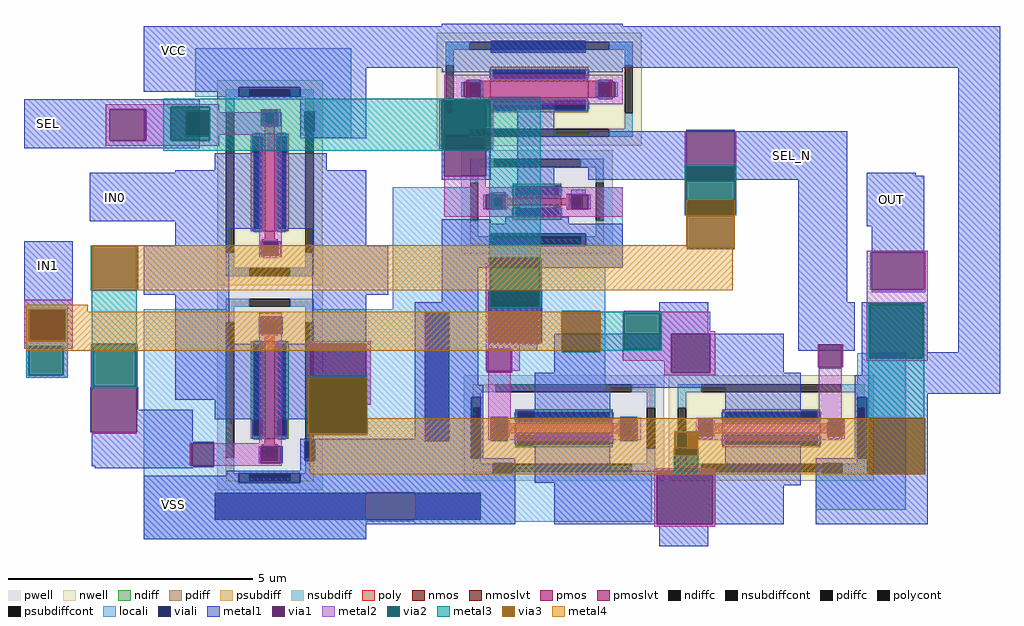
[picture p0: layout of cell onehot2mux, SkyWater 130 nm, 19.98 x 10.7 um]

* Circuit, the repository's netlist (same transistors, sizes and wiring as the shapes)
** sch_path: /home/ttuser/wowa/xschem/onehot2mux.sch
.subckt onehot2mux SEL IN0 IN1 OUT VCC VSS
*.PININFO SEL:I IN0:I IN1:I OUT:O VCC:I VSS:I
x2 OUT IN1 SEL_N SEL VSS VCC passgate
x3 OUT IN0 SEL SEL_N VSS VCC passgate
x1 SEL SEL_N VCC VSS lvtnot
.ends

* expanding   symbol:  /home/ttuser/wowa/xschem/passgate.sym # of pins=6
** sym_path: /home/ttuser/wowa/xschem/passgate.sym
** sch_path: /home/ttuser/wowa/xschem/passgate.sch
.subckt passgate Z A GP GN VSSBPIN VCCBPIN
*.PININFO A:B Z:B GP:I GN:I VCCBPIN:I VSSBPIN:I
XM1 Z GN A VSSBPIN sky130_fd_pr__nfet_01v8 L=0.2 W=2 nf=1 m=1
XM2 Z GP A VCCBPIN sky130_fd_pr__pfet_01v8 L=0.2 W=2 nf=1 m=1
.ends


* expanding   symbol:  /home/ttuser/wowa/xschem/lvtnot.sym # of pins=4
** sym_path: /home/ttuser/wowa/xschem/lvtnot.sym
** sch_path: /home/ttuser/wowa/xschem/lvtnot.sch
.subckt lvtnot a y VCCPIN VSSPIN
*.PININFO y:O a:I VCCPIN:I VSSPIN:I
XM2 y a VCCPIN VCCPIN sky130_fd_pr__pfet_01v8_lvt L=0.35 W=2 nf=1 m=1
XM1 y a VSSPIN VSSPIN sky130_fd_pr__nfet_01v8_lvt L=0.15 W=1 nf=1 m=1
.ends

.end

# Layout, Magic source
magic
tech sky130A
magscale 1 2
<< locali >>
rect 960 3040 1300 3250
rect 960 2750 1830 3040
rect -60 2060 290 2750
rect 620 2740 1830 2750
rect 620 2210 1090 2740
rect 1190 2420 1830 2740
rect 1190 2210 1300 2420
rect 620 2110 1300 2210
rect 620 2060 2020 2110
rect -60 2000 2020 2060
rect -60 1890 230 2000
rect 1320 1890 2020 2000
rect -60 1880 2020 1890
<< viali >>
rect 1090 2210 1190 2740
rect 230 1890 1320 2000
<< metal1 >>
rect -40 3710 160 3910
rect 620 3740 3445 3910
rect -550 3570 170 3610
rect -550 3440 -200 3570
rect -50 3440 170 3570
rect 2160 3480 2360 3486
rect -550 3410 170 3440
rect -280 3110 240 3310
rect 1760 3280 2160 3480
rect 2360 3280 2820 3480
rect 2160 3274 2360 3280
rect -550 2750 -350 3030
rect -550 2620 -530 2750
rect -380 2620 -350 2750
rect 1160 2740 1310 3000
rect -550 2590 -350 2620
rect 610 2610 870 2620
rect -278 2248 -272 2432
rect -88 2340 -82 2432
rect 610 2380 620 2610
rect 850 2380 870 2610
rect 610 2360 870 2380
rect -88 2248 140 2340
rect -272 2108 140 2248
rect -260 2100 140 2108
rect 790 2210 1090 2220
rect 1348 2614 1354 2826
rect 1566 2614 1572 2826
rect 2260 2496 2444 2644
rect 2620 2580 2820 3280
rect 2900 3297 3100 3310
rect 2900 3090 3135 3297
rect 2920 2985 3135 3090
rect 2914 2830 2920 2985
rect 3135 2830 3141 2985
rect 2920 2820 3140 2830
rect 3275 2575 3445 3740
rect 2935 2405 3445 2575
rect 1190 2210 1270 2220
rect -40 1850 160 2050
rect 790 2000 1270 2210
rect 2030 2090 2280 2100
rect 790 1870 1270 1890
rect 2030 1870 2040 2090
rect 2270 1870 2280 2090
rect 2935 2015 3105 2405
rect 2030 1860 2280 1870
<< via1 >>
rect -200 3440 -50 3570
rect 2160 3280 2360 3480
rect -530 2620 -380 2750
rect -272 2248 -88 2432
rect 620 2380 850 2610
rect 1354 2614 1566 2826
rect 2100 2490 2260 2650
rect 2920 2830 3135 2985
rect 2040 1870 2270 2090
<< metal2 >>
rect -215 3580 250 3590
rect -215 3570 50 3580
rect -215 3440 -200 3570
rect -50 3440 50 3570
rect 210 3440 250 3580
rect -215 3420 250 3440
rect 1150 3405 1159 3607
rect 1361 3405 1370 3607
rect 2154 3280 2160 3480
rect 2360 3280 2366 3480
rect 2160 3131 2360 3140
rect 2920 2990 3135 2991
rect 2900 2985 3150 2990
rect 1354 2961 1566 2966
rect 1350 2940 1359 2961
rect 1340 2826 1359 2940
rect 1561 2826 1570 2961
rect -550 2750 -350 2790
rect -550 2620 -530 2750
rect -380 2620 -350 2750
rect -550 2600 -350 2620
rect -272 2607 -88 2612
rect 610 2610 870 2620
rect -550 2590 -530 2600
rect -540 2480 -530 2590
rect -390 2590 -350 2600
rect -390 2480 -370 2590
rect -540 2470 -370 2480
rect -276 2433 -267 2607
rect -93 2433 -84 2607
rect -272 2432 -88 2433
rect 610 2360 620 2610
rect -272 2242 -88 2248
rect 850 2360 870 2610
rect 1340 2614 1354 2826
rect 1566 2759 1570 2826
rect 2900 2830 2920 2985
rect 3135 2830 3150 2985
rect 2900 2770 3150 2830
rect 1905 2740 2055 2744
rect 1340 2608 1566 2614
rect 1900 2735 2260 2740
rect 1340 2500 1480 2608
rect 1900 2585 1905 2735
rect 2055 2660 2260 2735
rect 2055 2650 2280 2660
rect 2055 2585 2100 2650
rect 1900 2540 2100 2585
rect 2070 2490 2100 2540
rect 2260 2490 2280 2650
rect 2900 2550 2910 2770
rect 3130 2550 3150 2770
rect 2900 2540 3150 2550
rect 2070 2480 2280 2490
rect 620 2236 850 2245
rect 2114 2176 2207 2185
rect 2030 2090 2114 2100
rect 2207 2090 2280 2100
rect 2030 1870 2040 2090
rect 2270 1870 2280 2090
rect 2030 1860 2280 1870
<< via2 >>
rect 50 3440 210 3580
rect 1159 3405 1361 3607
rect 2160 3280 2360 3337
rect 2160 3140 2360 3280
rect 1359 2826 1561 2961
rect -530 2480 -390 2600
rect -267 2433 -93 2607
rect 620 2380 850 2475
rect 620 2245 850 2380
rect 1359 2759 1561 2826
rect 1905 2585 2055 2735
rect 2910 2550 3130 2770
rect 2114 2090 2207 2176
rect 2114 2083 2207 2090
<< metal3 >>
rect 20 3607 1566 3612
rect 20 3580 1159 3607
rect 20 3440 50 3580
rect 210 3440 1159 3580
rect 20 3405 1159 3440
rect 1361 3405 1566 3607
rect 20 3400 1566 3405
rect -272 3011 -88 3012
rect -277 2829 -271 3011
rect -89 2829 -83 3011
rect 1354 2961 1566 3400
rect 2155 3337 2365 3342
rect 2155 3140 2160 3337
rect 2360 3140 2365 3337
rect 2155 3135 2162 3140
rect 2359 3135 2365 3140
rect 2162 2996 2359 3002
rect -540 2750 -370 2770
rect -540 2620 -530 2750
rect -380 2620 -370 2750
rect -540 2600 -370 2620
rect -540 2480 -530 2600
rect -390 2480 -370 2600
rect -540 2470 -370 2480
rect -272 2607 -88 2829
rect 1354 2759 1359 2961
rect 1561 2759 1566 2961
rect 1354 2754 1566 2759
rect 2905 2770 3135 2775
rect 1651 2740 1809 2745
rect -272 2433 -267 2607
rect -93 2433 -88 2607
rect 1650 2739 2060 2740
rect 1650 2581 1651 2739
rect 1809 2735 2060 2739
rect 1809 2585 1905 2735
rect 2055 2585 2060 2735
rect 1809 2581 2060 2585
rect 1650 2580 2060 2581
rect 1651 2575 1809 2580
rect 2905 2550 2910 2770
rect 3130 2550 3135 2770
rect -272 2428 -88 2433
rect 615 2475 855 2480
rect 615 2470 620 2475
rect 850 2470 855 2475
rect 2905 2304 3135 2550
rect 615 2234 855 2240
rect 2114 2246 2207 2252
rect 2109 2083 2114 2181
rect 2207 2083 2212 2181
rect 2109 2078 2212 2083
rect 2900 2076 2906 2304
rect 3134 2076 3140 2304
rect 2905 2075 3135 2076
<< via3 >>
rect -271 2829 -89 3011
rect 2162 3140 2359 3196
rect 2162 3002 2359 3140
rect -530 2620 -380 2750
rect 1651 2581 1809 2739
rect 615 2245 620 2470
rect 620 2245 850 2470
rect 850 2245 855 2470
rect 615 2240 855 2245
rect 2114 2176 2207 2246
rect 2114 2153 2207 2176
rect 2906 2076 3134 2304
<< metal4 >>
rect 2161 3196 2360 3197
rect 2161 3012 2162 3196
rect -272 3011 2162 3012
rect -272 2829 -271 3011
rect -89 3002 2162 3011
rect 2359 3002 2360 3196
rect -89 3001 2360 3002
rect -89 2829 2352 3001
rect -272 2828 2352 2829
rect -540 2750 -290 2770
rect -540 2620 -530 2750
rect -380 2740 -290 2750
rect -380 2739 1810 2740
rect -380 2620 1651 2739
rect -540 2581 1651 2620
rect 1809 2581 1810 2739
rect -540 2580 1810 2581
rect 614 2470 856 2471
rect 614 2240 615 2470
rect 855 2305 856 2470
rect 855 2304 3135 2305
rect 855 2246 2906 2304
rect 855 2240 2114 2246
rect 614 2239 2114 2240
rect 620 2153 2114 2239
rect 2207 2153 2906 2246
rect 620 2076 2906 2153
rect 3134 2076 3135 2304
rect 620 2075 3135 2076
use lvtnot  x1
transform 1 0 -260 0 1 2580
box 1400 340 2238 1340
use passgate  x2
transform 0 1 1750 -1 0 4980
box 2200 -700 3200 1400
use passgate  x3
transform 1 0 -2260 0 1 2510
box 2200 -700 3200 1400
<< labels >>
flabel metal1 2900 3100 3100 3300 0 FreeSans 1280 0 0 0 OUT
port 3 nsew
flabel metal1 -550 2830 -350 3030 0 FreeSans 1280 0 0 0 IN1
port 2 nsew
flabel metal1 -274 3110 -74 3310 0 FreeSans 1280 0 0 0 IN0
port 1 nsew
flabel metal1 -550 3410 -350 3610 0 FreeSans 1280 0 0 0 SEL
port 0 nsew
flabel metal1 -40 3710 160 3910 0 FreeSans 1280 0 0 0 VCC
port 4 nsew
flabel metal1 -40 1850 160 2050 0 FreeSans 1280 0 0 0 VSS
port 5 nsew
rlabel metal1 2360 3280 2820 3480 1 SEL_N
<< end >>

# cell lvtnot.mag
magic
tech sky130A
magscale 1 2
<< pwell >>
rect 1740 560 1880 600
rect 1710 550 1880 560
rect 1680 500 1880 550
rect 1680 480 1740 500
<< locali >>
rect 1420 460 1560 670
rect 1420 430 1620 460
rect 2070 460 2160 670
rect 2010 430 2160 460
rect 1420 340 2160 430
<< viali >>
rect 1620 1220 2010 1270
rect 1620 430 2010 480
<< metal1 >>
rect 1420 1270 2160 1340
rect 1420 1220 1620 1270
rect 2010 1220 2160 1270
rect 1420 1140 2160 1220
rect 1520 1100 1580 1110
rect 2060 1100 2120 1110
rect 1500 1040 1510 1100
rect 1580 1040 1590 1100
rect 2050 1040 2060 1100
rect 2130 1040 2140 1100
rect 1520 1030 1580 1040
rect 2060 1030 2120 1040
rect 1420 885 1620 900
rect 1420 715 1430 885
rect 1600 715 1620 885
rect 1420 700 1620 715
rect 1730 880 1880 1030
rect 2020 880 2220 900
rect 1730 750 2220 880
rect 1620 640 1680 650
rect 1590 580 1600 640
rect 1670 580 1680 640
rect 1730 630 1880 750
rect 2020 700 2220 750
rect 1950 640 2010 660
rect 1740 580 1880 600
rect 1940 580 1950 640
rect 2020 580 2030 640
rect 1720 560 1900 580
rect 1710 550 1900 560
rect 1420 520 1620 540
rect 1680 520 1940 550
rect 1420 480 2160 520
rect 1420 430 1620 480
rect 2010 430 2160 480
rect 1420 340 2160 430
<< via1 >>
rect 1510 1040 1580 1100
rect 2060 1040 2130 1100
rect 1430 715 1600 885
rect 1600 580 1670 640
rect 1950 580 2020 640
<< metal2 >>
rect 1430 1100 2160 1130
rect 1430 1040 1510 1100
rect 1580 1040 2060 1100
rect 2130 1040 2160 1100
rect 1430 1010 2160 1040
rect 1430 885 1600 1010
rect 1430 670 1600 715
rect 1430 640 2160 670
rect 1430 580 1600 640
rect 1670 580 1950 640
rect 2020 580 2160 640
rect 1430 550 2160 580
use sky130_fd_pr__nfet_01v8_lvt_648S5X  XM1
transform 0 -1 1810 1 0 611
box -211 -310 211 310
use sky130_fd_pr__pfet_01v8_lvt_4QFWD3  XM2
transform 0 1 1819 -1 0 1071
box -231 -419 231 419
<< labels >>
flabel metal1 1420 700 1620 900 0 FreeSans 1280 0 0 0 a
port 0 nsew
flabel metal1 2020 700 2220 900 0 FreeSans 1280 0 0 0 y
port 1 nsew
flabel metal1 1420 1140 1620 1340 0 FreeSans 1280 0 0 0 VCCPIN
port 2 nsew
flabel metal1 1420 340 1620 540 0 FreeSans 1280 0 0 0 VSSPIN
port 3 nsew
<< end >>

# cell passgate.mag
magic
tech sky130A
magscale 1 2
<< locali >>
rect 2410 1150 3050 1310
rect 2410 1110 2590 1150
rect 2840 1110 3050 1150
rect 2880 1050 3050 1110
rect 2900 970 3050 1050
rect 2880 940 3050 970
rect 2460 -440 2560 -230
rect 2870 -290 2970 -230
rect 2870 -300 3110 -290
rect 2900 -380 3110 -300
rect 2200 -470 2590 -440
rect 2870 -440 3110 -380
rect 2840 -470 3110 -440
rect 2200 -700 3110 -470
<< viali >>
rect 2590 1110 2840 1150
rect 2860 970 2900 1050
rect 2860 -380 2900 -300
rect 2590 -470 2840 -430
<< metal1 >>
rect 2200 1150 3110 1400
rect 2200 1130 2590 1150
rect 2500 1110 2590 1130
rect 2840 1110 3110 1150
rect 2500 1100 3110 1110
rect 2200 1047 2400 1100
rect 2840 1050 3110 1100
rect 2200 954 2373 1047
rect 2466 954 2472 1047
rect 2680 990 2690 1050
rect 2750 990 2760 1050
rect 2840 970 2860 1050
rect 2900 970 3110 1050
rect 2200 900 2400 954
rect 2840 940 3110 970
rect 2490 810 2690 880
rect 2330 570 2690 810
rect 2750 810 2950 880
rect 2750 570 3110 810
rect 2330 500 2550 570
rect 2200 300 2550 500
rect 2680 460 2690 520
rect 2750 460 2760 520
rect 2890 500 3110 570
rect 2330 100 2550 300
rect 2890 300 3200 500
rect 2670 140 2680 210
rect 2760 140 2770 210
rect 2890 100 3110 300
rect 2330 -130 2690 100
rect 2200 -301 2400 -200
rect 2490 -210 2690 -130
rect 2740 -130 3110 100
rect 2740 -210 2940 -130
rect 2840 -300 3110 -290
rect 2200 -307 2487 -301
rect 2200 -400 2394 -307
rect 2670 -390 2680 -320
rect 2760 -390 2770 -320
rect 2840 -380 2860 -300
rect 2900 -380 3110 -300
rect 2394 -406 2487 -400
rect 2840 -420 3110 -380
rect 2540 -430 3110 -420
rect 2540 -440 2590 -430
rect 2200 -470 2590 -440
rect 2840 -470 3110 -430
rect 2200 -700 3110 -470
<< via1 >>
rect 2373 954 2466 1047
rect 2690 990 2750 1050
rect 2690 460 2750 520
rect 2680 140 2760 210
rect 2394 -400 2487 -307
rect 2680 -390 2760 -320
<< metal2 >>
rect 2373 1047 2466 1053
rect 2680 1050 2760 1060
rect 2680 1047 2690 1050
rect 2466 990 2690 1047
rect 2750 1047 2760 1050
rect 2750 990 2766 1047
rect 2466 954 2766 990
rect 2373 948 2466 954
rect 2673 520 2766 954
rect 2673 460 2690 520
rect 2750 460 2766 520
rect 2673 454 2766 460
rect 2690 450 2750 454
rect 2673 210 2766 226
rect 2673 140 2680 210
rect 2760 140 2766 210
rect 2673 -307 2766 140
rect 2388 -400 2394 -307
rect 2487 -320 2766 -307
rect 2487 -390 2680 -320
rect 2760 -390 2766 -320
rect 2487 -400 2766 -390
use sky130_fd_pr__nfet_01v8_Q7AWK3  XM1
transform 1 0 2716 0 1 -90
box -216 -410 216 410
use sky130_fd_pr__pfet_01v8_SKB8XJ  XM2
transform -1 0 2716 0 -1 759
box -216 -419 216 419
<< labels >>
flabel metal1 2200 -400 2400 -200 0 FreeSans 1280 0 0 0 GN
port 3 nsew
flabel metal1 3000 300 3200 500 0 FreeSans 1280 0 0 0 Z
port 1 nsew
flabel metal1 2200 300 2400 500 0 FreeSans 1280 0 0 0 A
port 0 nsew
flabel metal1 2200 900 2400 1100 0 FreeSans 1280 0 0 0 GP
port 2 nsew
flabel locali 2600 -700 2800 -500 0 FreeSans 1280 0 0 0 VSSBPIN
port 5 nsew
flabel metal1 2600 1200 2800 1400 0 FreeSans 1280 0 0 0 VCCBPIN
port 4 nsew
<< end >>

# cell sky130_fd_pr__nfet_01v8_Q7AWK3: kit device sky130_fd_pr__nfet_01v8, w 2.0 l 0.2 m 1 nf 1 diffcov 100 polycov 100 guard 1 glc 1 grc 1 gtc 1 gbc 1 tbcov 100 rlcov 100 topc 1 botc 1 poverlap 0 doverlap 1 lmin 0.15 wmin 0.42 compatible {sky130_fd_pr__nfet_01v8 sky130_fd_pr__nfet_01v8_lvt sky130_fd_bs_flash__special_sonosfet_star sky130_fd_pr__nfet_g5v0d10v5 sky130_fd_pr__nfet_05v0_nvt sky130_fd_pr__nfet_03v3_nvt} full_metal 1 viasrc 100 viadrn 100 viagate 100 viagb 0 viagr 0 viagl 0 viagt 0

# cell sky130_fd_pr__pfet_01v8_SKB8XJ: kit device sky130_fd_pr__pfet_01v8, w 2.0 l 0.2 m 1 nf 1 diffcov 100 polycov 100 guard 1 glc 1 grc 1 gtc 1 gbc 1 tbcov 100 rlcov 100 topc 1 botc 1 poverlap 0 doverlap 1 lmin 0.15 wmin 0.42 compatible {sky130_fd_pr__pfet_01v8 sky130_fd_pr__pfet_01v8_lvt sky130_fd_pr__pfet_01v8_hvt sky130_fd_pr__pfet_g5v0d10v5} full_metal 1 viasrc 100 viadrn 100 viagate 100 viagb 0 viagr 0 viagl 0 viagt 0

# cell sky130_fd_pr__nfet_01v8_lvt_648S5X: kit device sky130_fd_pr__nfet_01v8_lvt, w 1.0 l 0.15 m 1 nf 1 diffcov 100 polycov 100 guard 1 glc 1 grc 1 gtc 1 gbc 1 tbcov 100 rlcov 100 topc 1 botc 1 poverlap 0 doverlap 1 lmin 0.15 wmin 0.42 compatible {sky130_fd_pr__nfet_01v8 sky130_fd_pr__nfet_01v8_lvt sky130_fd_bs_flash__special_sonosfet_star sky130_fd_pr__nfet_g5v0d10v5 sky130_fd_pr__nfet_05v0_nvt sky130_fd_pr__nfet_03v3_nvt} full_metal 1 viasrc 100 viadrn 100 viagate 100 viagb 0 viagr 0 viagl 0 viagt 0

# cell sky130_fd_pr__pfet_01v8_lvt_4QFWD3: kit device sky130_fd_pr__pfet_01v8_lvt, w 2.0 l 0.35 m 1 nf 1 diffcov 100 polycov 100 guard 1 glc 1 grc 1 gtc 1 gbc 1 tbcov 100 rlcov 100 topc 1 botc 1 poverlap 0 doverlap 1 lmin 0.35 wmin 0.42 compatible {sky130_fd_pr__pfet_01v8 sky130_fd_pr__pfet_01v8_lvt sky130_fd_pr__pfet_01v8_hvt sky130_fd_pr__pfet_g5v0d10v5} full_metal 1 viasrc 100 viadrn 100 viagate 100 viagb 0 viagr 0 viagl 0 viagt 0
